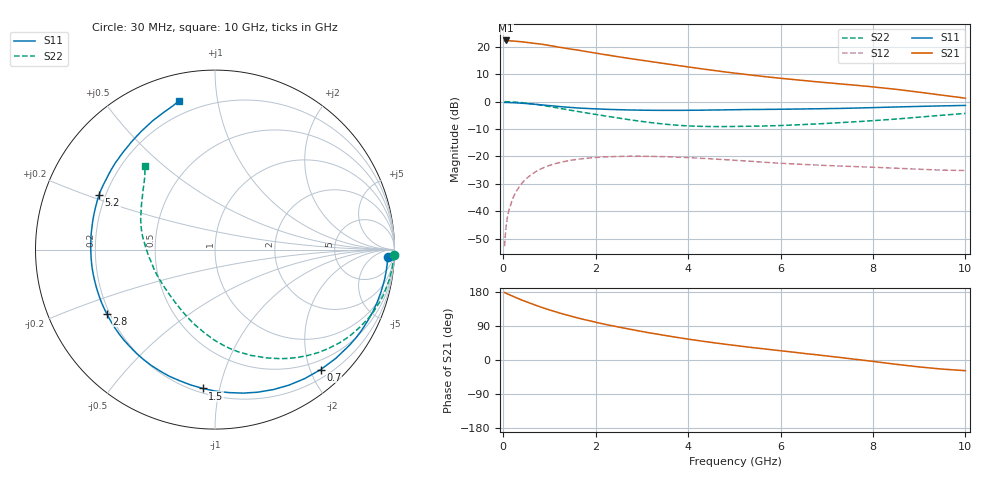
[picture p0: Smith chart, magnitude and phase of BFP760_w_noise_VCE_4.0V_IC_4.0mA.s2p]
! Infineon Technologies  Discrete & RF Semiconductors
! BFP760
! VCE =  4.0 V,  IC =  4.0 mA
! Common Emitter S-Parameters:  Nov 2012
# GHz  S  MA  R  50
!  f  S11  S21  S12  S22
! GHz  MAG  ANG  MAG  ANG  MAG  ANG  MAG  ANG
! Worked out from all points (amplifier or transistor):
!   99 points, 30 MHz to 10 GHz, reference 50 ohm
!   highest |S21| = 22.3 dB at 50 MHz (marker M1)
!   |S21| within 3 dB of that: start of sweep to 1.402 GHz
!   unconditionally stable (mu >= 1): 6.451 GHz to end of sweep
!   at 350 MHz: K = 0.08, MSG = 26.4 dB, |S12| = -31.0 dB
!   at 3.5 GHz: K = 0.43, MSG = 17.0 dB, |S12| = -20.1 dB
!   at 10 GHz: K = 1.36, MAG = 9.6 dB, |S12| = -25.1 dB
!   lowest NFmin = 0.43 dB at 900 MHz
!   S11 on the Smith chart (normalised r, x): 30 MHz: 24, -27; 700 MHz: 0.33, -2.17; 1.5 GHz: 0.23, -0.89; 2.8 GHz: 0.19, -0.26; 5.2 GHz: 0.17, +0.22; 10 GHz: 0.13, +0.78
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0.03  0.9645 -2.4  12.86 178.0  0.0023 75.1  0.9965 -1.8
0.05  0.9623 -3.6  13.04 176.6  0.004 85.3  0.9944 -2.5
0.14  0.9589 -10.2  12.85 171.9  0.012 81.2  0.9902 -7.0
0.25  0.9501 -18.0  12.65 166.0  0.0205 77.6  0.9787 -12.4
0.4  0.933 -28.6  12.33 158.4  0.0321 71.5  0.9553 -19.4
0.5  0.9196 -35.4  12.05 153.7  0.0393 67.3  0.9364 -24.1
0.7  0.891 -48.6  11.47 144.6  0.0524 59.4  0.8913 -32.8
0.9  0.8599 -61.5  10.9 136.2  0.0636 52.0  0.8389 -41.0
1.1  0.8294 -73.3  10.21 128.4  0.0727 45.2  0.7848 -48.7
1.3  0.8005 -84.4  9.558 121.2  0.08 39.3  0.7332 -55.7
1.5  0.7767 -95.0  8.963 114.6  0.0857 33.8  0.685 -62.1
1.7  0.7565 -105.2  8.446 108.3  0.0904 29.1  0.6413 -68.2
2.2  0.725 -127.1  7.184 94.3  0.0975 18.3  0.5475 -83.0
2.5  0.7116 -138.7  6.556 86.9  0.0996 12.8  0.5004 -91.1
2.8  0.7013 -149.4  6.001 79.9  0.1006 7.9  0.4581 -99.1
3.4  0.6922 -168.5  5.063 66.8  0.0992 -0.6  0.3949 -115.8
4.1  0.6951 173.5  4.179 53.3  0.0941 -8.5  0.3572 -134.9
5.1  0.7123 156.0  3.239 37.1  0.084 -15.6  0.3527 -156.0
5.2  0.7143 154.6  3.163 35.6  0.0829 -16.1  0.3535 -157.8
6.7  0.7376 138.0  2.333 14.9  0.07 -18.7  0.388 177.5
8.5  0.7974 115.8  1.674 -11.3  0.0608 -17.8  0.4795 148.7
10  0.8509 103.8  1.153 -28.2  0.0553 -11.3  0.6089 129.9
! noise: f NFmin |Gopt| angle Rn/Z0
0.9  0.43  0.46  26  0.14
1.8  0.52  0.39  54  0.12
2.4  0.63  0.33  75  0.11
3.5  0.81  0.27  109  0.1
5.5  1.15  0.36  -157  0.08
8  1.69  0.49  -104  0.29
